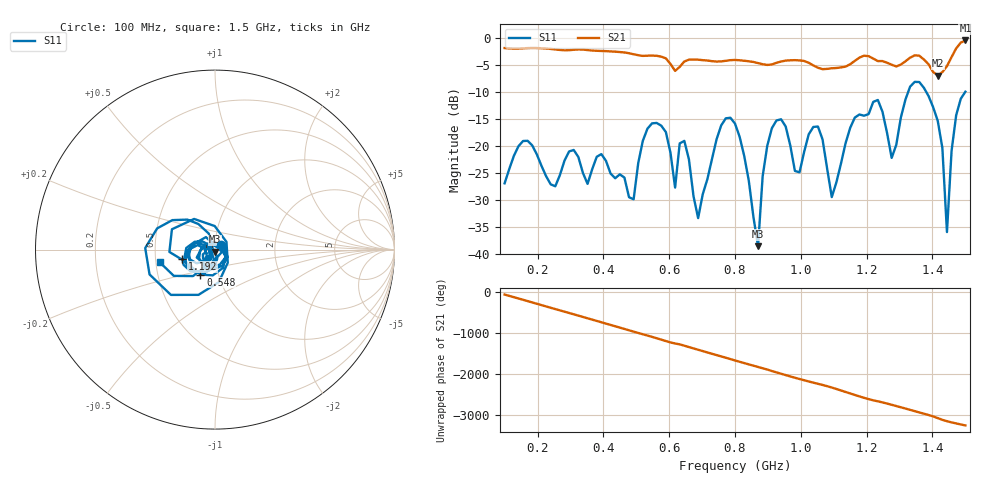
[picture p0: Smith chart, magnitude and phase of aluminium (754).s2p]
! NanoVNA-App
! Date: 2025-09-25 15:01:09
! Start: 100MHz Stop: 1,5GHz Points: 101
! S-Parameter data: F S11 S21 S12 S22
# Hz S RI R 50
!  Frequency  S11_Real  S11_Imag  S21_Real  S21_Imag  S12_Real  S12_Imag  S22_Real  S22_Imag
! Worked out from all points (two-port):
!   101 points, 100 MHz to 1.5 GHz, reference 50 ohm
!   highest |S21| = -0.51 dB at 1.5 GHz (marker M1); lowest = -7.0 dB at 1.416 GHz (marker M2)
!   |S21| within 3 dB of the highest: start of sweep to 576.1 MHz; 1.459 GHz to end of sweep (the widest 2 of 4)
!   lowest |S11| = -38.6 dB at 870 MHz (marker M3), VSWR 1.02, Z = 50.1 - j1.17 ohm
!   |S11| at or under -10 dB: start of sweep to 1.326 GHz; 1.381 GHz to 1.5 GHz (119.3 MHz wide, 8.28 % of centre)
!   S12 and S22 are empty: the file has one direction only
!   S11 on the Smith chart (normalised r, x): 100 MHz: 1.07, +0.06; 548 MHz: 0.82, -0.23; 1.192 GHz: 0.69, -0.08; 1.5 GHz: 0.52, -0.08
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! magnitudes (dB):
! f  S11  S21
! 100 MHz  -27.0  -1.9
! 156 MHz  -19.1  -2.0
! 338 MHz  -25.0  -2.2
! 492 MHz  -29.9  -3.1
! 548 MHz  -15.9  -3.3
! 576 MHz  -16.3  -3.5
! 618 MHz  -27.7  -6.1
! 646 MHz  -19.1  -4.4
! 688 MHz  -33.4  -4.1
! 800 MHz  -15.9  -4.1
! 870 MHz  -38.6  -4.7
! 912 MHz  -16.8  -5.0
! 996 MHz  -24.9  -4.2
! 1.038 GHz  -16.5  -5.1
! 1.094 GHz  -29.5  -5.7
! 1.192 GHz  -14.4  -3.3
! 1.276 GHz  -22.3  -5.0
! 1.346 GHz  -8.2  -3.3
! 1.416 GHz  -15.4  -7.0
! 1.444 GHz  -36.0  -5.3
! 1.472 GHz  -14.3  -2.0
! 1.5 GHz  -10.0  -0.5
